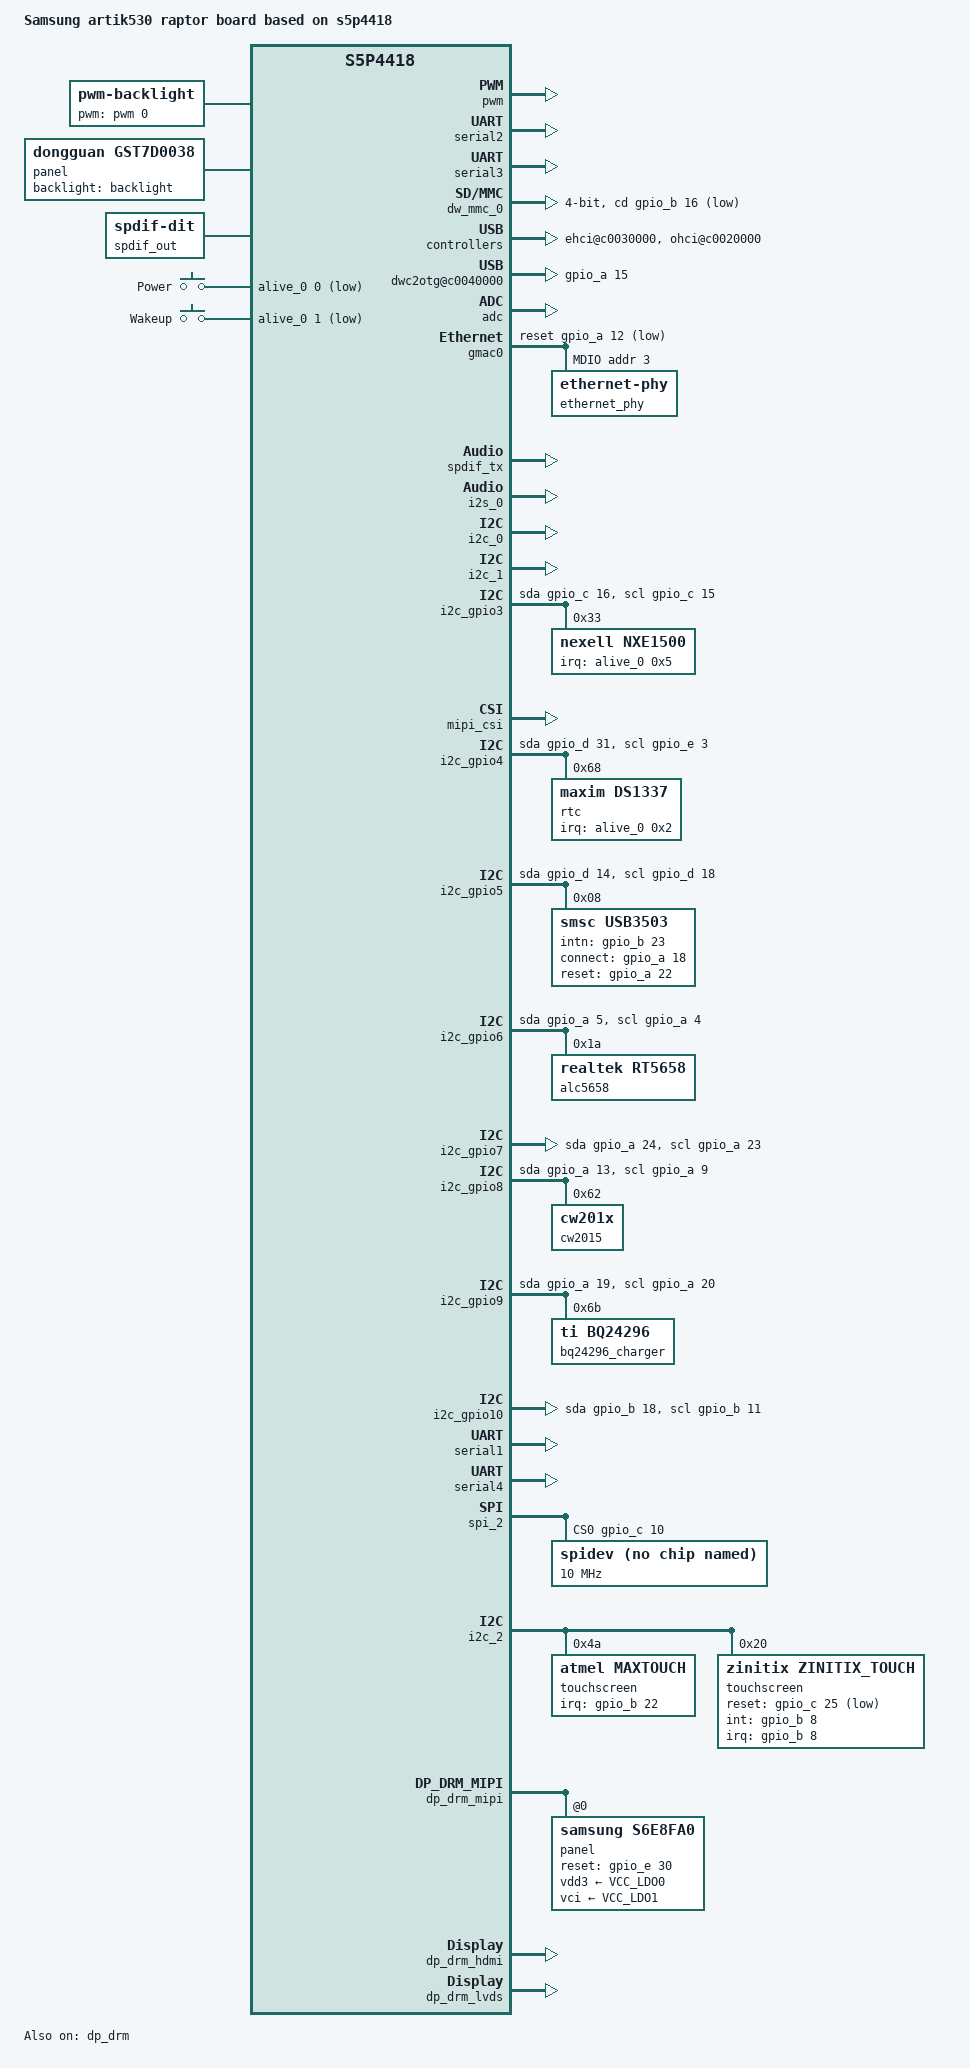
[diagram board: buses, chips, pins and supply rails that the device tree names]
/*
 * Copyright (C) 2016  Nexell Co., Ltd.
 * Author: Youngbok, Park <ybpark@nexell.co.kr>
 *
 * This program is free software; you can redistribute it and/or
 * modify it under the terms of the GNU General Public License
 * as published by the Free Software Foundation; either version 2
 * of the License, or (at your option) any later version.
 *
 * This program is distributed in the hope that it will be useful,
 * but WITHOUT ANY WARRANTY; without even the implied warranty of
 * MERCHANTABILITY or FITNESS FOR A PARTICULAR PURPOSE.  See the
 * GNU General Public License for more details.
 *
 * You should have received a copy of the GNU General Public License
 * along with this program.  If not, see <http://www.gnu.org/licenses/>.
 */

#include <dt-bindings/interrupt-controller/irq.h>
#include <dt-bindings/input/input.h>
#include "s5p4418-artik530.dtsi"

#define PMIC_PDATA_INIT(_id, _rname, _minuv,	\
			_maxuv, _init_uv, _init_enable,		\
			_set_init_uV, _slp_slots)	\
		regulator-name = _rname;		\
		regulator-min-microvolt = <_minuv>;	\
		regulator-max-microvolt = <_maxuv>;	\
		nx,id = <_id>;				\
		nx,init_enable = <_init_enable>;	\
		nx,init_uV = <_init_uv>;		\
		nx,set_init_uV = <_set_init_uV>;	\
		nx,sleep_slots = <_slp_slots>;

/ {
	model = "Samsung artik530 raptor board based on s5p4418";
	compatible = "samsung,artik530-raptor", "samsung,artik530",
		   "nexell,s5p4418";

	psci {
		compatible = "arm,psci-0.2";
		method = "smc";
	};

	aliases {
		i2c1 = &i2c_1;
		i2c3 = &i2c_gpio3;
		i2c4 = &i2c_gpio4;
		i2c5 = &i2c_gpio5;
		i2c6 = &i2c_gpio6;
		i2c7 = &i2c_gpio7;
		i2c8 = &i2c_gpio8;
		i2c9 = &i2c_gpio9;
		i2c10 = &i2c_gpio10;
	};

	nx-v4l2 {
		status = "okay";
	};

	soc {

		clocks {
			vip0:vip@c00c1000 { clock-frequency = <300000000>;};
			i2c0:i2c@c00ae000 { clock-frequency = <200000000>;};
			i2c1:i2c@c00af000 { clock-frequency = <200000000>;};
			i2c2:i2c@c00b0000 { clock-frequency = <200000000>;};
			pwm0:pwm0@c00ba000 {
				clk-input = <I_PLL2>;
				clock-frequency = <10000000>;
			};
			pwm1:pwm1@c00ba000 {
				clk-input = <I_PLL2>;
				clock-frequency = <10000000>;
			};
			pwm2:pwm2@c00be000 {
				clk-input = <I_PLL2>;
				clock-frequency = <10000000>;
			};
			pwm3:pwm3@c00be000 {
				clk-input = <I_PLL2>;
				clock-frequency = <10000000>;
			};
		};

		timer@c0017000 {
			clocks =  <&timer0>, <&timer1>;
			clock-names = "timer0", "timer1";
		};

		pwm:pwm@c0018000 {
			clocks =  <&pwm0>, <&pwm1>, <&pwm2>, <&pwm3>;
			clock-names = "pwm-tclk0", "pwm-tclk1", "pwm-tclk2", "pwm-tclk3";
		};

		dynamic-freq@bb000 {
			supply_name = "vdd_core_regulator";
			vdd_core_regulator-supply = <&VCC_DCDC0>;
		};

		serial2:serial@c00a2000 {
			status ="okay";
		};

		serial3:serial@c00a3000 {
			status ="okay";
		};

		dw_mmc_0:dw_mmc@c0062000 {
			num-slots = <1>;
			bus-width = <4>;
			cap-sd-highspeed;
			clock-frequency = <100000000>;
			card-detect-delay = <200>;
			disable-wp;
			cd-gpios = <&gpio_b 16 0>;
			cd-inverted;
			nexell,drive_dly = <0x0>;
			nexell,drive_shift = <0x02>;
			nexell,sample_dly = <0x00>;
			nexell,sample_shift = <0x01>;
			status = "okay";
		};

		nexell_usbphy: nexell-usbphy@c0012000 {
			status = "okay";
		};

		ehci@c0030000 {
			samsung,vbus-gpio = <&gpio_a 16 0>;
			status = "okay";
			port@0 {
				status = "okay";
			};
			port@1 {
				status = "okay";
			};
		};

		ohci@c0020000 {
			status = "okay";
			port@0 {
				status = "okay";
			};
		};

		dwc2otg@c0040000 {
			gpios = <&gpio_a 15 0>;
			status = "okay";
		};

		pinctrl@C0010000 {
			key_pwr:key_pwr {
				nexell,pins = "alive-0";
				nexell,pin-function = <0>;
				nexell,pin-pull = <1>;
				nexell,pin-strength = <0>;
			};

			pmic_irq:pmic_irq{
				nexell,pins = "alive-5";
				nexell,pin-function = <0>;
				nexell,pin-pull = <1>;
				nexell,pin-strength = <0>;
			};

			touchpanel_irq: touchpanel-irq {
				nexell,pins = "gpiob-22";
				nexell,pin-function = <1>;
				nexell,pin-pull = <1>;
				nexell,pin-strength = <0>;
			};

			tsp_irq: tsp-irq {
				nexell,pins = "gpiob-8";
				nexell,pin-function = <0>;
				nexell,pin-pull = <1>;
				nexell,pin-strength = <0>;
			};

			tsp_reset: tsp-reset {
				nexell,pins = "gpioc-25";
				nexell,pin-function = <0>;
				nexell,pin-pull = <1>;
				nexell,pin-strength = <0>;
			};
		};

		adc:adc@c0053000 {
			status = "okay";
		};

		gmac0:ethernet@c0060000 {
			pinctrl-names = "default";
			pinctrl-0 = <&gmac_pins>;

			status = "okay";
			#address-cells = <0x1>;
			#size-cells = <0x0>;

			snps,phy-addr = <3>;
			snps,reset-gpio = <&gpio_a 12 0>;
			snps,reset-active-low;
			snps,reset-delays-us = <0 10000 30000>;

			mdio {
				#address-cells = <1>;
				#size-cells = <0>;

				ethernet_phy: ethernet-phy@3 {
					reg = <3>;
					fixed-link {
						speed = <1000>;
						full-duplex;
					};
				};
			};
		};

		watchdog@c0019000 {
			status = "okay";
		};

		spdif_tx: spdiftx@c0059000 {
			#sound-dai-cells = <1>;
			pcm-bit = <16>;
			sample_rate = <48000>;
			status = "okay";
		};

		i2s_0:i2s@c0055000 {
			#sound-dai-cells = <1>;
			master-mode = <1>;
			mclk-in = <0>;
			trans-mode = <0>;
			frame-bit = <32>;
			sample-rate = <48000>;
			pre-supply-mclk = <1>;
			status = "okay";
		};

		i2c_0:i2c@c00a4000 {
			status = "okay";
			#address-cells = <1>;
			#size-cells = <0>;
			rate = <400000>;
		};

		i2c_1:i2c@c00a5000 {
			status = "okay";
			#address-cells = <1>;
			#size-cells = <0>;
		};

		i2c_gpio3: i2c@3 {
			compatible = "i2c-gpio";
			gpios = <&gpio_c 16 0	/* SDA */
					&gpio_c 15 0		/* SCL */
					>;
			#address-cells = <1>;
			#size-cells = <0>;
			status = "okay";

			nxe1500@33 {
				compatible = "nexell,nxe1500";
				reg = <0x33>;
				interrupt-parent = <&alive_0>;
				interrupts = <0x5 IRQ_TYPE_EDGE_FALLING>;
				pinctrl-names = "default";
				pinctrl-0 = <&pmic_irq>;
			};
		};

		vip_0:vip@c0063000 {
			status = "okay";
		};

		mipi_csi:mipi_csi@c00d0000 {
			data_lane = <2>;
			pllval = <750>;
			hssettle = <7>;
			/* hssettle = <6>; */
			status = "okay";
		};

		clipper_0:clipper0@c0063000 {
			interface_type = <NX_CAPTURE_INTERFACE_MIPI_CSI>;
			gpios = <&gpio_a 17 0 &gpio_a 3 0 &gpio_a 6 0>;
			data_order = <NX_VIN_Y0CBY1CR>;
			status = "okay";
			sensor {
				type = <NX_CAPTURE_SENSOR_I2C>;
				i2c_name = "S5K4ECGA";
				i2c_adapter = <0>;
				addr = <0x56>;
			};
			power {
				enable_seq = <
					NX_ACTION_START NX_ACTION_TYPE_GPIO 2 1 2 NX_ACTION_END
					NX_ACTION_START NX_ACTION_TYPE_GPIO 1 1 1 NX_ACTION_END
					NX_ACTION_START NX_ACTION_TYPE_GPIO 0 1 1 NX_ACTION_END
					>;

				disable_seq = <
					NX_ACTION_START NX_ACTION_TYPE_GPIO 0 0 1 NX_ACTION_END
					NX_ACTION_START NX_ACTION_TYPE_GPIO 1 0 1 NX_ACTION_END
					NX_ACTION_START NX_ACTION_TYPE_GPIO 2 0 2 NX_ACTION_END
				>;
			};
		};

		scaler@c0066000 {
			status = "okay";
		};

		video-codec@c0080000 {
			status = "okay";
			sram = <0 0>;
		};
	};	/*** soc ***/

	backlight: pwm-backlight {
		compatible = "pwm-backlight";
		pwms = <&pwm 0 20000 0>;
		pwm-names = "pwm-backlight";
		brightness-levels = < 0  1  2  3  4  5  6  7  8  9
				     10 11 12 13 14 15 16 17 18 19
				     20 21 22 23 24 25 26 27 28 29
				     30 31 32 33 34 35 36 37 38 39
				     40 41 42 43 44 45 46 47 48 49
				     50 51 52 53 54 55 56 57 58 59
				     60 61 62 63 64 65 66 67 68 69
				     70 71 72 73 74 75 76 77 78 79
				     80 81 82 83 84 85 86 87 88 89
				     90 91 92 93 94 95 96 97 98 99
				    100>;
		default-brightness-level = <60>;
		status = "okay";
	};

	panel: panel-simple {
		compatible = "dongguan,gst7d0038";
		backlight = <&backlight>;
		status = "okay";

		port {
			lvds_panel: endpoint {
			};
		};
	};

	i2c_gpio4: i2c@4 {
		compatible = "i2c-gpio";
		gpios = <&gpio_d 31 0	/* SDA */
			&gpio_e 3 0	/* SCL */
			>;
		#address-cells = <1>;
		#size-cells = <0>;
		i2c-gpio,delay-us = <100>;
		status = "okay";

		rtc@68 {
			compatible = "maxim,ds1337";
			reg = <0x68>;
			interrupt-parent = <&alive_0>;
			interrupts = <0x2 IRQ_TYPE_EDGE_FALLING>;
			/* If it's first boot, reset to 4/29/2016(Fri) UTC */
			init_time,year = <116>;
			init_time,mon = <3>;
			init_time,mday = <29>;
			init_time,wday = <5>;
		};
	};

	i2c_gpio5: i2c@5 {
		compatible = "i2c-gpio";
		gpios = <&gpio_d 14 0	/* sda */
			&gpio_d 18 0	/* scl */
			>;
		i2c-gpio,delay-us = <10>;
		#address-cells = <1>;
		#size-cells = <0>;

		usb3503: usb3503@08 {
			compatible = "smsc,usb3503";
			reg = <0x08>;
			intn-gpios = <&gpio_b 23 0>;
			connect-gpios = <&gpio_a 18 0>;
			reset-gpios = <&gpio_a 22 0>;
			initial-mode = <1>;
		};
	};

	i2c_gpio6:i2c@6 {
		compatible = "i2c-gpio";
		gpios = <&gpio_a 5 0 /* sda */
			&gpio_a 4 0 /* scl */
			>;
		i2c-gpio,delay-us = <1>;
		#address-cells = <1>;
		#size-cells = <0>;

		alc5658: alc5658@1a {
			#sound-dai-cells = <0>;
			compatible = "realtek,rt5658";
			reg = <0x1a>;
		};
	};

	i2c_gpio7:i2c@7 {
		compatible = "i2c-gpio";
		gpios = <&gpio_a 24 0 /* sda */
			&gpio_a 23 0 /* scl */
			>;
		i2c-gpio,delay-us = <100>;
		#address-cells = <1>;
		#size-cells = <0>;
	};

	i2c_gpio8: i2c@8 {
		compatible = "i2c-gpio";
		gpios = <&gpio_a 13 0	/* sda */
			&gpio_a 9 0		/* scl */
			>;
		i2c-gpio,delay-us = <1>;	/* ~100kHz */
		#address-cells = <1>;
		#size-cells = <0>;
		status = "okay";

		cw2015@62 {
			compatible = "cw201x";
			reg = <0x62>;

			bat_config_info = <0x15 0x4C 0x78 0x48 0x25
				0x16 0x45 0x60 0x67 0x5D
                0x56 0x4C 0x58 0x58 0x53
				0x57 0x59 0x5C 0x5E 0x65
                0x57 0x6C 0x78 0x75 0x85
				0x91 0x07 0xAE 0x74 0xA4
                0x96 0xA3 0xC1 0xC2 0xD2
				0xBF 0x40 0x1F 0x98 0x19
                0x05 0x38 0x48 0x79 0x8D
				0x92 0x92 0x23 0x73 0x80
                0x94 0xB0 0x37 0xC1 0x91
				0xCB 0x2F 0x7D 0x72 0xA5
				0xB5 0xC1 0x15 0x09>;

			is_dc_charge = <1>;
			is_usb_charge = <0>;
		};

	};

	i2c_gpio9: i2c@9 {
		compatible = "i2c-gpio";
		gpios = <&gpio_a 19 0	/* sda */
			&gpio_a 20 0	/* scl */
			>;
		i2c-gpio,delay-us = <1>;	/* ~100kHz */
		#address-cells = <1>;
		#size-cells = <0>;
		status = "okay";

		bq24296_charger@6b {
			compatible = "ti,bq24296";
			reg = <0x6b>;
			ti,chg_current = <1000 1500 2000>;
		};
	};

	i2c_gpio10: i2c@10 {
		compatible = "i2c-gpio";
		gpios = <&gpio_b 18 0	/* sda */
			&gpio_b 11 0	/* scl */
			>;
		i2c-gpio,delay-us = <3>;
		#address-cells = <1>;
		#size-cells = <0>;
		status = "okay";
	};

	sound {
		compatible = "simple-audio-card";
		simple-audio-card,name = "Artik530 raptor Audio";
		simple-audio-card,mclk-fs = <256>;
		simple-audio-card,widgets =
		    "Headphone", "Out Jack",
		    "Microphone", "In Jack";
		simple-audio-card,routing =
		    "Out Jack", "HPOL",
		    "Out Jack", "HPOR",
		    "IN2P", "In Jack",
		    "IN2P", "In Jack";
		status = "okay";

		simple-audio-card,dai-link@0 {
		    format = "i2s";
		    cpu {
			sound-dai = <&i2s_0 0>;
		    };

		    codec {
			sound-dai = <&alc5658>;
		    };
		};

		simple-audio-card,dai-link@1 {
		    cpu {
			sound-dai = <&spdif_tx 0>;
		    };

		    codec {
			sound-dai = <&spdif_out>;
		    };
		};
	};

	spdif_out: spdif-out {
		#sound-dai-cells = <0>;
		compatible = "linux,spdif-dit";
	};

	gpio_keys {
		compatible = "gpio-keys";
		#address-cells = <1>;
		#size-cells = <0>;
		pinctrl-names = "default";
		pinctrl-0 = <&key_pwr>;

		power {
			label = "Power";
			gpios = <&alive_0 0 1>;
			linux,code = <KEY_POWER>;
			gpio-key,wakeup;
		};

		wakeup {
			label = "Wakeup";
			gpios = <&alive_0 1 1>;
			linux,code = <KEY_WAKEUP>;
			gpio-key,wakeup;
		};
	};

	regulators {
		VCC_DCDC0:dcdc1
				{ PMIC_PDATA_INIT( 0,
				"nxe2000_dcdc1",
				900000, 1500000,
				1250000, 1, 0, 0x4)
				regulator-always-on;
				regulator-boot-on;};
		VCC_DCDC1:dcdc2
				{ PMIC_PDATA_INIT( 1,
				"nxe2000_dcdc2",
				1000000, 1500000,
				1100000, 1, 0, 0x4)
				regulator-always-on;
				regulator-boot-on;};
		VCC_DCDC2:dcdc3
				{ PMIC_PDATA_INIT( 2,
				"nxe2000_dcdc3",
				1000000, 1800000,
				1500000, 1, 0, 0x4)
				regulator-always-on;
				regulator-boot-on;};
		VCC_DCDC3:dcdc4
				{ PMIC_PDATA_INIT( 3,
				"nxe2000_dcdc4",
				1000000, 1800000,
				1500000, 1, 0, 0xF)
				regulator-always-on;
				regulator-boot-on;};
		VCC_LDO0:ldo1
				{ PMIC_PDATA_INIT( 5,
				"nxe2000_ldo1",
				1000000, 3500000,
				3300000, 1, 1, 0x0)
				regulator-always-on;
				regulator-boot-on;};
		VCC_LDO1:ldo2
				{ PMIC_PDATA_INIT( 6,
				"nxe2000_ldo2",
				1000000, 3500000,
				1800000, 1, 1, 0x2)
				regulator-always-on;
				regulator-boot-on;};
		VCC_LDO2:ldo3
				{ PMIC_PDATA_INIT( 7,
				"nxe2000_ldo3",
				1000000, 3500000,
				3300000, 1, 1, 0x0)
				regulator-always-on;
				regulator-boot-on;};
		VCC_LDO3:ldo4
				{ PMIC_PDATA_INIT( 8,
				"nxe2000_ldo4",
				1000000, 3500000,
				1200000, 0, 1, 0x2)
				regulator-always-on;
				regulator-boot-on;};
		VCC_LDO4:ldo5
				{ PMIC_PDATA_INIT( 9,
				"nxe2000_ldo5",
				1000000, 3500000,
				3300000, 0, 1, 0x0)};
		VCC_RTC0:ldortc1
				{ PMIC_PDATA_INIT(15,
				"nxe2000_rtc1",
				1700000, 3500000,
				1800000, 1, 1, 0xF)
				regulator-always-on;
				regulator-boot-on;};
		VCC_RTC1:ldortc2
				{ PMIC_PDATA_INIT(16,
				"nxe2000_rtc2",
				1000000, 3500000,
				1000000, 1, 1, 0xF)
				regulator-always-on;
				regulator-boot-on;};
	}; /* regulators */

	nx-devfreq {
		pll = <3>;
		supply_name = "vdd_arm_regulator";
		vdd_arm_regulator-supply = <&VCC_DCDC1>;
		status = "okay";
	};
};

&pwm {
	pinctrl-names = "default";
	pinctrl-0 = <&pwm0_pin &pwm2_pin>;
	samsung,pwm-outputs = <0>, <2>;
	status = "okay";
};

&serial1 {
	status = "okay";
	pinctrl-0 = <&serial1_pin>, <&serial1_flow_cts>, <&serial1_flow_rts>;
};

&serial4 {
	status = "okay";
};

&spi_2 {
	status = "okay";
	cs-gpios = <&gpio_c 10 0>;
	spidev@0 {
		compatible = "linux,spidev";
		reg = <0>;
		spi-max-frequency = <10000000>;
		controller-data {
			samsung,spi-feedback-delay = <0>;
		};
	};
};

&i2c_2 {
	#address-cells = <1>;
	#size-cells = <0>;
	status = "okay";

	touchscreen@4a {
		compatible = "atmel,maxtouch";
		reg = <0x4a>;
		interrupt-parent = <&gpio_b>;
		interrupts = <22 IRQ_TYPE_EDGE_FALLING>;
		pinctrl-names = "default";
		pinctrl-0 = <&touchpanel_irq>;
		skip-cfg-load;
		switch-xy;
	};

	touchscreen@20 {
		compatible = "zinitix,zinitix_touch";
		reg = <0x20>;
		interrupt-parent = <&gpio_b>;
		interrupts = <8 IRQ_TYPE_EDGE_FALLING>;
		reset-gpio = <&gpio_c 25 1>;
		int-gpio = <&gpio_b 8 0>;
		pinctrl-names = "default";
		pinctrl-0 = <&tsp_irq &tsp_reset>;
	};
};

&dp_drm {
	status = "okay";
	ports {
		port@0 {
			reg = <0>;
			back_color = < 0x0 >;
			color_key = < 0x0 >;
			plane-names = "video", "primary", "rgb";
		};
		port@1 {
			reg = <1>;
			back_color = < 0x0 >;
			color_key = < 0x0 >;
			plane-names = "video", "primary";
		};
	};
};

&dp_drm_mipi {
	hs_bitrate = <960>;
	lp_bitrate = <100>;
	status = "ok";

	panel@0 {
		compatible = "samsung,s6e8fa0";
		reg = <0>;
		vdd3-supply = <&VCC_LDO0>;
		vci-supply = <&VCC_LDO1>;
		reset-gpio = <&gpio_e 30 0>;
		power-on-delay= <50>;
		reset-delay = <100>;
		init-delay = <100>;
		display-timings {
			timing-0 {
				clock-frequency = <130361520>;
				hactive = <1080>;
				vactive = <1920>;
				hfront-porch = <32>;
				hback-porch = <16>;
				hsync-len = <12>;
				vfront-porch = <12>;
				vback-porch = <3>;
				vsync-len = <1>;
			};
		};
	};

	dp_control {
		clk_src_lv0 = <0>;
		clk_div_lv0 = <6>;
		clk_src_lv1 = <7>;
		clk_div_lv1 = <1>;
		out_format = <3>;
		vs_start_offset = <480>;
		ev_start_offset = <480>;
		vs_end_offset = <0>;
		ev_end_offset = <0>;
	};
};

&dp_drm_hdmi {
	ddc-i2c-bus = <&i2c_gpio7>;
	enable-gpios = <&gpio_a 21 0>;
	status = "ok";
};

&dp_drm_lvds {
	status = "ok";

	remote-endpoint = <&lvds_panel>;

	dp_control {
		clk_src_lv0 = <0>;
		clk_div_lv0 = <16>;
		clk_src_lv1 = <7>;
		clk_div_lv1 = <1>;
		out_format = <3>;
	};
};
